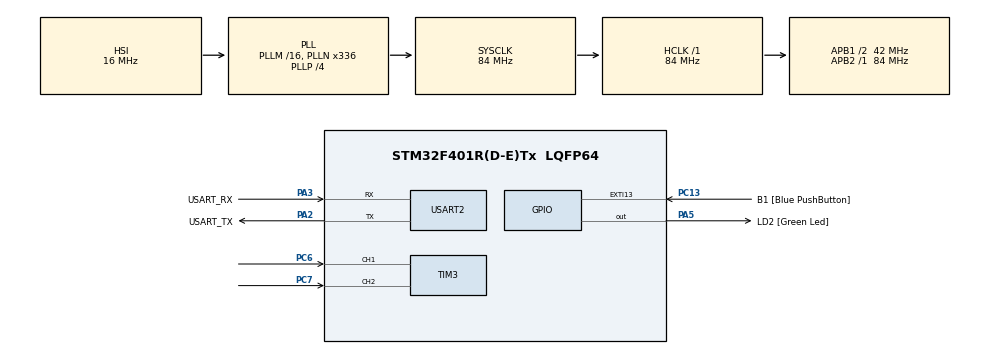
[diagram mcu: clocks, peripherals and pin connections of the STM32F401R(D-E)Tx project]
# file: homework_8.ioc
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Dma.Request0=USART2_TX
Dma.USART2_TX.0.Direction=DMA_MEMORY_TO_PERIPH
Dma.USART2_TX.0.FIFOMode=DMA_FIFOMODE_DISABLE
Dma.USART2_TX.0.Instance=DMA1_Stream6
Dma.USART2_TX.0.MemDataAlignment=DMA_MDATAALIGN_BYTE
Dma.USART2_TX.0.MemInc=DMA_MINC_ENABLE
Dma.USART2_TX.0.Mode=DMA_NORMAL
Dma.USART2_TX.0.PeriphDataAlignment=DMA_PDATAALIGN_BYTE
Dma.USART2_TX.0.PeriphInc=DMA_PINC_DISABLE
Dma.USART2_TX.0.Priority=DMA_PRIORITY_LOW
Mcu.Family=STM32F4
Mcu.Name=STM32F401R(D-E)Tx
Mcu.Package=LQFP64
NVIC.DMA1_Stream6_IRQn=true\:0\:0\:false\:false\:true\:false\:true\:true
NVIC.PriorityGroup=NVIC_PRIORITYGROUP_0
NVIC.TIM2_IRQn=true\:0\:0\:false\:false\:true\:true\:true\:true
NVIC.USART2_IRQn=true\:0\:0\:false\:false\:true\:true\:true\:true
PA13.GPIO_Label=TMS
PA13.Mode=Serial_Wire
PA13.Signal=SYS_JTMS-SWDIO
PA14.GPIO_Label=TCK
PA14.Mode=Serial_Wire
PA14.Signal=SYS_JTCK-SWCLK
PA2.GPIO_Label=USART_TX
PA2.GPIO_Mode=GPIO_MODE_AF_PP
PA2.GPIO_PuPd=GPIO_NOPULL
PA2.GPIO_Speed=GPIO_SPEED_FREQ_LOW
PA2.Mode=Asynchronous
PA2.Signal=USART2_TX
PA3.GPIO_Label=USART_RX
PA3.GPIO_Mode=GPIO_MODE_AF_PP
PA3.GPIO_PuPd=GPIO_NOPULL
PA3.GPIO_Speed=GPIO_SPEED_FREQ_LOW
PA3.Mode=Asynchronous
PA3.Signal=USART2_RX
PA5.GPIO_Label=LD2 [Green Led]
PA5.GPIO_Mode=GPIO_MODE_OUTPUT_PP
PA5.GPIO_PuPd=GPIO_NOPULL
PA5.GPIO_Speed=GPIO_SPEED_FREQ_LOW
PA5.Signal=GPIO_Output
PB3.GPIO_Label=SWO
PB3.Signal=SYS_JTDO-SWO
PC13-ANTI_TAMP.GPIO_Label=B1 [Blue PushButton]
PC13-ANTI_TAMP.GPIO_ModeDefaultEXTI=GPIO_MODE_IT_FALLING
PC13-ANTI_TAMP.GPIO_PuPd=GPIO_NOPULL
PC13-ANTI_TAMP.Signal=GPXTI13
PC14-OSC32_IN.Mode=LSE-External-Oscillator
PC14-OSC32_IN.Signal=RCC_OSC32_IN
PC15-OSC32_OUT.Mode=LSE-External-Oscillator
PC15-OSC32_OUT.Signal=RCC_OSC32_OUT
PC6.Signal=S_TIM3_CH1
PC7.Signal=S_TIM3_CH2
PH0\ -\ OSC_IN.Mode=HSE-External-Clock-Source
PH0\ -\ OSC_IN.Signal=RCC_OSC_IN
PH1\ -\ OSC_OUT.Mode=HSE-External-Clock-Source
PH1\ -\ OSC_OUT.Signal=RCC_OSC_OUT
ProjectManager.HeapSize=0x200
ProjectManager.StackSize=0x400
ProjectManager.TargetToolchain=STM32CubeIDE
RCC.48MHZClocksFreq_Value=48000000
RCC.AHBFreq_Value=84000000
RCC.APB1CLKDivider=RCC_HCLK_DIV2
RCC.APB1Freq_Value=42000000
RCC.APB1TimFreq_Value=84000000
RCC.APB2Freq_Value=84000000
RCC.APB2TimFreq_Value=84000000
RCC.CortexFreq_Value=84000000
RCC.HCLKFreq_Value=84000000
RCC.HSE_VALUE=8000000
RCC.HSI_VALUE=16000000
RCC.PLLN=336
RCC.PLLP=RCC_PLLP_DIV4
RCC.PLLQ=7
RCC.SYSCLKFreq_VALUE=84000000
RCC.SYSCLKSource=RCC_SYSCLKSOURCE_PLLCLK
RCC.VCOOutputFreq_Value=336000000
SH.S_TIM3_CH1.0=TIM3_CH1,Encoder_Interface
SH.S_TIM3_CH2.0=TIM3_CH2,Encoder_Interface
TIM2.Period=9999
TIM2.Prescaler=8399
TIM3.ClockDivision=TIM_CLOCKDIVISION_DIV4
TIM3.EncoderMode=TIM_ENCODERMODE_TI1
TIM3.IC1Filter=15
TIM3.IC1Polarity=TIM_ICPOLARITY_FALLING
TIM3.IC2Filter=15
TIM3.IC2Polarity=TIM_ICPOLARITY_RISING
USART2.VirtualMode=VM_ASYNC
VP_TIM2_VS_ClockSourceINT.Mode=Internal
board=NUCLEO-F401RE

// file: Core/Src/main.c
/* USER CODE BEGIN Header */
/**
  ******************************************************************************
  * @file           : main.c
  * @brief          : Main program body
  ******************************************************************************
  * @attention
  *
  * Copyright (c) 2023 STMicroelectronics.
  * All rights reserved.
  *
  * This software is licensed under terms that can be found in the LICENSE file
  * in the root directory of this software component.
  * If no LICENSE file comes with this software, it is provided AS-IS.
  *
  ******************************************************************************
  */
/* USER CODE END Header */
#include "main.h"

TIM_HandleTypeDef htim2;
TIM_HandleTypeDef htim3;

UART_HandleTypeDef huart2;
DMA_HandleTypeDef hdma_usart2_tx;

/* USER CODE BEGIN PV */
uint16_t counts = 0;
uint16_t oldcounts = 0;
int delta = 0;
/* USER CODE END PV */

void SystemClock_Config(void);
static void MX_GPIO_Init(void);
static void MX_DMA_Init(void);
static void MX_USART2_UART_Init(void);
static void MX_TIM2_Init(void);
static void MX_TIM3_Init(void);

/* USER CODE BEGIN 0 */
void HAL_TIM_PeriodElapsedCallback(TIM_HandleTypeDef *htim){
	if(htim == &htim2){
		 oldcounts = counts;
		 counts = __HAL_TIM_GET_COUNTER(&htim3);
		 delta = counts - oldcounts;

		 if(delta>32768){
			 delta -= 65536;
		 }else if(delta<-32768){
			 delta += 65536;
		 }

		 char msg[120];
		 float rpms = (delta/24.0)*60;
		 int length = snprintf(msg, sizeof(msg), "Value: %d\r\nDelta: %d\r\nSpeed: %.1f\r\n", counts, delta, rpms);

		 HAL_UART_Transmit_DMA(&huart2, msg, length);
	}

}
/* USER CODE END 0 */

int main(void)
{

  /* MCU Configuration--------------------------------------------------------*/

  /* Reset of all peripherals, Initializes the Flash interface and the Systick. */
  HAL_Init();

  /* Configure the system clock */
  SystemClock_Config();

  /* Initialize all configured peripherals */
  MX_GPIO_Init();
  MX_DMA_Init();
  MX_USART2_UART_Init();
  MX_TIM2_Init();
  MX_TIM3_Init();
  /* USER CODE BEGIN 2 */
  HAL_TIM_Base_Start_IT(&htim2);
  HAL_TIM_Encoder_Start(&htim3, TIM_CHANNEL_ALL);
  /* USER CODE END 2 */

  /* Infinite loop */
  while (1)
  {

  }
}

void SystemClock_Config(void)
{
  RCC_OscInitTypeDef RCC_OscInitStruct = {0};
  RCC_ClkInitTypeDef RCC_ClkInitStruct = {0};

  /** Configure the main internal regulator output voltage
  */
  __HAL_RCC_PWR_CLK_ENABLE();
  __HAL_PWR_VOLTAGESCALING_CONFIG(PWR_REGULATOR_VOLTAGE_SCALE2);

  /** Initializes the RCC Oscillators according to the specified parameters
  * in the RCC_OscInitTypeDef structure.
  */
  RCC_OscInitStruct.OscillatorType = RCC_OSCILLATORTYPE_HSI;
  RCC_OscInitStruct.HSIState = RCC_HSI_ON;
  RCC_OscInitStruct.HSICalibrationValue = RCC_HSICALIBRATION_DEFAULT;
  RCC_OscInitStruct.PLL.PLLState = RCC_PLL_ON;
  RCC_OscInitStruct.PLL.PLLSource = RCC_PLLSOURCE_HSI;
  RCC_OscInitStruct.PLL.PLLM = 16;
  RCC_OscInitStruct.PLL.PLLN = 336;
  RCC_OscInitStruct.PLL.PLLP = RCC_PLLP_DIV4;
  RCC_OscInitStruct.PLL.PLLQ = 7;
  if (HAL_RCC_OscConfig(&RCC_OscInitStruct) != HAL_OK)
  {
    Error_Handler();
  }

  /** Initializes the CPU, AHB and APB buses clocks
  */
  RCC_ClkInitStruct.ClockType = RCC_CLOCKTYPE_HCLK|RCC_CLOCKTYPE_SYSCLK
                              |RCC_CLOCKTYPE_PCLK1|RCC_CLOCKTYPE_PCLK2;
  RCC_ClkInitStruct.SYSCLKSource = RCC_SYSCLKSOURCE_PLLCLK;
  RCC_ClkInitStruct.AHBCLKDivider = RCC_SYSCLK_DIV1;
  RCC_ClkInitStruct.APB1CLKDivider = RCC_HCLK_DIV2;
  RCC_ClkInitStruct.APB2CLKDivider = RCC_HCLK_DIV1;

  if (HAL_RCC_ClockConfig(&RCC_ClkInitStruct, FLASH_LATENCY_2) != HAL_OK)
  {
    Error_Handler();
  }
}

static void MX_TIM2_Init(void)
{

  TIM_ClockConfigTypeDef sClockSourceConfig = {0};
  TIM_MasterConfigTypeDef sMasterConfig = {0};

  htim2.Instance = TIM2;
  htim2.Init.Prescaler = 8399;
  htim2.Init.CounterMode = TIM_COUNTERMODE_UP;
  htim2.Init.Period = 9999;
  htim2.Init.ClockDivision = TIM_CLOCKDIVISION_DIV1;
  htim2.Init.AutoReloadPreload = TIM_AUTORELOAD_PRELOAD_DISABLE;
  if (HAL_TIM_Base_Init(&htim2) != HAL_OK)
  {
    Error_Handler();
  }
  sClockSourceConfig.ClockSource = TIM_CLOCKSOURCE_INTERNAL;
  if (HAL_TIM_ConfigClockSource(&htim2, &sClockSourceConfig) != HAL_OK)
  {
    Error_Handler();
  }
  sMasterConfig.MasterOutputTrigger = TIM_TRGO_RESET;
  sMasterConfig.MasterSlaveMode = TIM_MASTERSLAVEMODE_DISABLE;
  if (HAL_TIMEx_MasterConfigSynchronization(&htim2, &sMasterConfig) != HAL_OK)
  {
    Error_Handler();
  }

}

static void MX_TIM3_Init(void)
{

  TIM_Encoder_InitTypeDef sConfig = {0};
  TIM_MasterConfigTypeDef sMasterConfig = {0};

  htim3.Instance = TIM3;
  htim3.Init.Prescaler = 0;
  htim3.Init.CounterMode = TIM_COUNTERMODE_UP;
  htim3.Init.Period = 65535;
  htim3.Init.ClockDivision = TIM_CLOCKDIVISION_DIV4;
  htim3.Init.AutoReloadPreload = TIM_AUTORELOAD_PRELOAD_DISABLE;
  sConfig.EncoderMode = TIM_ENCODERMODE_TI1;
  sConfig.IC1Polarity = TIM_ICPOLARITY_FALLING;
  sConfig.IC1Selection = TIM_ICSELECTION_DIRECTTI;
  sConfig.IC1Prescaler = TIM_ICPSC_DIV1;
  sConfig.IC1Filter = 15;
  sConfig.IC2Polarity = TIM_ICPOLARITY_RISING;
  sConfig.IC2Selection = TIM_ICSELECTION_DIRECTTI;
  sConfig.IC2Prescaler = TIM_ICPSC_DIV1;
  sConfig.IC2Filter = 15;
  if (HAL_TIM_Encoder_Init(&htim3, &sConfig) != HAL_OK)
  {
    Error_Handler();
  }
  sMasterConfig.MasterOutputTrigger = TIM_TRGO_RESET;
  sMasterConfig.MasterSlaveMode = TIM_MASTERSLAVEMODE_DISABLE;
  if (HAL_TIMEx_MasterConfigSynchronization(&htim3, &sMasterConfig) != HAL_OK)
  {
    Error_Handler();
  }

}

static void MX_USART2_UART_Init(void)
{

  huart2.Instance = USART2;
  huart2.Init.BaudRate = 115200;
  huart2.Init.WordLength = UART_WORDLENGTH_8B;
  huart2.Init.StopBits = UART_STOPBITS_1;
  huart2.Init.Parity = UART_PARITY_NONE;
  huart2.Init.Mode = UART_MODE_TX_RX;
  huart2.Init.HwFlowCtl = UART_HWCONTROL_NONE;
  huart2.Init.OverSampling = UART_OVERSAMPLING_16;
  if (HAL_UART_Init(&huart2) != HAL_OK)
  {
    Error_Handler();
  }

}

static void MX_DMA_Init(void)
{

  /* DMA controller clock enable */
  __HAL_RCC_DMA1_CLK_ENABLE();

  /* DMA interrupt init */
  /* DMA1_Stream6_IRQn interrupt configuration */
  HAL_NVIC_SetPriority(DMA1_Stream6_IRQn, 0, 0);
  HAL_NVIC_EnableIRQ(DMA1_Stream6_IRQn);

}

static void MX_GPIO_Init(void)
{
  GPIO_InitTypeDef GPIO_InitStruct = {0};

  /* GPIO Ports Clock Enable */
  __HAL_RCC_GPIOC_CLK_ENABLE();
  __HAL_RCC_GPIOH_CLK_ENABLE();
  __HAL_RCC_GPIOA_CLK_ENABLE();
  __HAL_RCC_GPIOB_CLK_ENABLE();

  /*Configure GPIO pin Output Level */
  HAL_GPIO_WritePin(LD2_GPIO_Port, LD2_Pin, GPIO_PIN_RESET);

  /*Configure GPIO pin : B1_Pin */
  GPIO_InitStruct.Pin = B1_Pin;
  GPIO_InitStruct.Mode = GPIO_MODE_IT_FALLING;
  GPIO_InitStruct.Pull = GPIO_NOPULL;
  HAL_GPIO_Init(B1_GPIO_Port, &GPIO_InitStruct);

  /*Configure GPIO pin : LD2_Pin */
  GPIO_InitStruct.Pin = LD2_Pin;
  GPIO_InitStruct.Mode = GPIO_MODE_OUTPUT_PP;
  GPIO_InitStruct.Pull = GPIO_NOPULL;
  GPIO_InitStruct.Speed = GPIO_SPEED_FREQ_LOW;
  HAL_GPIO_Init(LD2_GPIO_Port, &GPIO_InitStruct);

}

void Error_Handler(void)
{
  __disable_irq();
  while (1)
  {
  }
}
